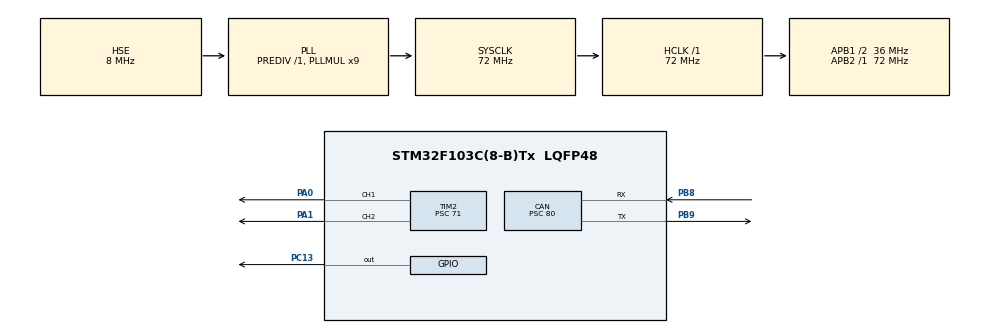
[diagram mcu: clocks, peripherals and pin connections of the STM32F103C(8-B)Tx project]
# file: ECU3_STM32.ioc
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CAN.ABOM=DISABLE
CAN.BS1=CAN_BS1_5TQ
CAN.BS2=CAN_BS2_3TQ
CAN.CalculateBaudRate=50000
CAN.CalculateTimeBit=20000
CAN.CalculateTimeQuantum=2222.222222222222
CAN.Mode=CAN_MODE_NORMAL
CAN.NART=ENABLE
CAN.Prescaler=80
FREERTOS.Tasks01=CANRxHandlerTask,24,128,CANRxHandler,Default,NULL,Dynamic,NULL,NULL;CANTxHandlerTask,24,128,CANTxHandler,Default,NULL,Dynamic,NULL,NULL
FREERTOS.configMAX_TASK_NAME_LEN=32
FREERTOS.configTOTAL_HEAP_SIZE=10000
FREERTOS.configUSE_MALLOC_FAILED_HOOK=1
Mcu.Family=STM32F1
Mcu.Name=STM32F103C(8-B)Tx
Mcu.Package=LQFP48
NVIC.PriorityGroup=NVIC_PRIORITYGROUP_4
NVIC.TIM2_IRQn=true\:5\:0\:false\:false\:true\:true\:true\:true\:true
NVIC.TIM4_IRQn=true\:15\:0\:false\:false\:true\:false\:false\:true\:true
NVIC.TimeBase=TIM4_IRQn
NVIC.TimeBaseIP=TIM4
NVIC.USB_LP_CAN1_RX0_IRQn=true\:5\:0\:false\:false\:true\:true\:true\:true\:true
PA0-WKUP.Signal=S_TIM2_CH1_ETR
PA1.Signal=S_TIM2_CH2
PA13.Mode=Serial_Wire
PA13.Signal=SYS_JTMS-SWDIO
PA14.Mode=Serial_Wire
PA14.Signal=SYS_JTCK-SWCLK
PB8.GPIO_PuPd=GPIO_PULLUP
PB8.Mode=CAN_Activate
PB8.Signal=CAN_RX
PB9.Mode=CAN_Activate
PB9.Signal=CAN_TX
PC13-TAMPER-RTC.Signal=GPIO_Output
PD0-OSC_IN.Mode=HSE-External-Oscillator
PD0-OSC_IN.Signal=RCC_OSC_IN
PD1-OSC_OUT.Mode=HSE-External-Oscillator
PD1-OSC_OUT.Signal=RCC_OSC_OUT
ProjectManager.HeapSize=0x200
ProjectManager.StackSize=0x400
ProjectManager.TargetToolchain=STM32CubeIDE
RCC.ADCPresc=RCC_ADCPCLK2_DIV6
RCC.AHBFreq_Value=72000000
RCC.APB1CLKDivider=RCC_HCLK_DIV2
RCC.APB1Freq_Value=36000000
RCC.APB1TimFreq_Value=72000000
RCC.APB2Freq_Value=72000000
RCC.APB2TimFreq_Value=72000000
RCC.HCLKFreq_Value=72000000
RCC.PLLMUL=RCC_PLL_MUL9
RCC.PLLSourceVirtual=RCC_PLLSOURCE_HSE
RCC.SYSCLKFreq_VALUE=72000000
RCC.SYSCLKSource=RCC_SYSCLKSOURCE_PLLCLK
RCC.USBFreq_Value=72000000
SH.S_TIM2_CH1_ETR.0=TIM2_CH1,PWM Generation1 CH1
SH.S_TIM2_CH2.0=TIM2_CH2,PWM Generation2 CH2
TIM1.Period=999
TIM1.Prescaler=799
TIM2.Channel-PWM\ Generation1\ CH1=TIM_CHANNEL_1
TIM2.Channel-PWM\ Generation2\ CH2=TIM_CHANNEL_2
TIM2.Period=19999
TIM2.Prescaler=71
TIM2.Pulse-PWM\ Generation1\ CH1=1500
TIM2.Pulse-PWM\ Generation2\ CH2=1500
TIM3.Period=999
TIM3.Prescaler=799
VP_FREERTOS_VS_CMSIS_V2.Mode=CMSIS_V2
VP_SYS_VS_tim4.Mode=TIM4
VP_TIM1_VS_ClockSourceINT.Mode=Internal
VP_TIM2_VS_ClockSourceINT.Mode=Internal
VP_TIM3_VS_ClockSourceINT.Mode=Internal
board=custom

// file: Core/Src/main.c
/* USER CODE BEGIN Header */
/**
  ******************************************************************************
  * @file           : main.c
  * @brief          : Main program body
  ******************************************************************************
  * @attention
  *
  * Copyright (c) 2026 STMicroelectronics.
  * All rights reserved.
  *
  * This software is licensed under terms that can be found in the LICENSE file
  * in the root directory of this software component.
  * If no LICENSE file comes with this software, it is provided AS-IS.
  *
  ******************************************************************************
  */
/* USER CODE END Header */
#include "main.h"
#include "cmsis_os.h"

/* USER CODE BEGIN Includes */
#include "can.h"
/* USER CODE END Includes */

/* USER CODE BEGIN PD */
#define SERVO_MIN   900    // -90°   = 1ms
#define SERVO_MID   1500   // 0°  = 1.5ms
#define SERVO_MAX   2100   // +90° = 2.0ms

/* USER CODE END PD */

CAN_HandleTypeDef hcan;

TIM_HandleTypeDef htim1;
TIM_HandleTypeDef htim2;
TIM_HandleTypeDef htim3;

/* Definitions for CANRxHandlerTask */
osThreadId_t CANRxHandlerTaskHandle;
const osThreadAttr_t CANRxHandlerTask_attributes = {
  .name = "CANRxHandlerTask",
  .stack_size = 128 * 4,
  .priority = (osPriority_t) osPriorityNormal,
};
/* Definitions for CANTxHandlerTask */
osThreadId_t CANTxHandlerTaskHandle;
const osThreadAttr_t CANTxHandlerTask_attributes = {
  .name = "CANTxHandlerTask",
  .stack_size = 128 * 4,
  .priority = (osPriority_t) osPriorityNormal,
};

void SystemClock_Config(void);
static void MX_GPIO_Init(void);
static void MX_CAN_Init(void);
static void MX_TIM1_Init(void);
static void MX_TIM3_Init(void);
static void MX_TIM2_Init(void);
void CANRxHandler(void *argument);
void CANTxHandler(void *argument);

/* USER CODE BEGIN PFP */
void Servo_OpenDoor(uint32_t channel);
void Servo_CloseDoor(uint32_t channel);
/* USER CODE END PFP */

/* USER CODE BEGIN 0 */
void Servo_SetAngle(TIM_HandleTypeDef *htim, uint32_t channel, float angle)
{
    uint32_t pulse = (uint32_t)(SERVO_MIN + (angle / 180.0f) * (SERVO_MAX - SERVO_MIN));
    __HAL_TIM_SET_COMPARE(htim, channel, pulse);
}

void Servo_OpenDoor(uint32_t channel)
{
    Servo_SetAngle(&htim2, channel, DOOR_ANGLE_OPEN);
}

void Servo_CloseDoor(uint32_t channel)
{
    Servo_SetAngle(&htim2, channel, DOOR_ANGLE_CLOSE);
}
/* USER CODE END 0 */

int main(void)
{

  /* MCU Configuration--------------------------------------------------------*/

  /* Reset of all peripherals, Initializes the Flash interface and the Systick. */
  HAL_Init();

  /* Configure the system clock */
  SystemClock_Config();

  /* Initialize all configured peripherals */
  MX_GPIO_Init();
  MX_CAN_Init();
  MX_TIM1_Init();
  MX_TIM3_Init();
  MX_TIM2_Init();
  /* USER CODE BEGIN 2 */
  HAL_TIM_PWM_Start(&htim2, TIM_CHANNEL_1);
  HAL_TIM_PWM_Start(&htim2, TIM_CHANNEL_2);

  /* USER CODE END 2 */

  /* Init scheduler */
  osKernelInitialize();

  /* Create the thread(s) */
  /* creation of CANRxHandlerTask */
  CANRxHandlerTaskHandle = osThreadNew(CANRxHandler, NULL, &CANRxHandlerTask_attributes);

  /* creation of CANTxHandlerTask */
  CANTxHandlerTaskHandle = osThreadNew(CANTxHandler, NULL, &CANTxHandlerTask_attributes);

  /* Start scheduler */
  osKernelStart();

  /* We should never get here as control is now taken by the scheduler */

  /* Infinite loop */
  while (1)
  {

  }
}

void SystemClock_Config(void)
{
  RCC_OscInitTypeDef RCC_OscInitStruct = {0};
  RCC_ClkInitTypeDef RCC_ClkInitStruct = {0};

  /** Initializes the RCC Oscillators according to the specified parameters
  * in the RCC_OscInitTypeDef structure.
  */
  RCC_OscInitStruct.OscillatorType = RCC_OSCILLATORTYPE_HSE;
  RCC_OscInitStruct.HSEState = RCC_HSE_ON;
  RCC_OscInitStruct.HSEPredivValue = RCC_HSE_PREDIV_DIV1;
  RCC_OscInitStruct.HSIState = RCC_HSI_ON;
  RCC_OscInitStruct.PLL.PLLState = RCC_PLL_ON;
  RCC_OscInitStruct.PLL.PLLSource = RCC_PLLSOURCE_HSE;
  RCC_OscInitStruct.PLL.PLLMUL = RCC_PLL_MUL9;
  if (HAL_RCC_OscConfig(&RCC_OscInitStruct) != HAL_OK)
  {
    Error_Handler();
  }

  /** Initializes the CPU, AHB and APB buses clocks
  */
  RCC_ClkInitStruct.ClockType = RCC_CLOCKTYPE_HCLK|RCC_CLOCKTYPE_SYSCLK
                              |RCC_CLOCKTYPE_PCLK1|RCC_CLOCKTYPE_PCLK2;
  RCC_ClkInitStruct.SYSCLKSource = RCC_SYSCLKSOURCE_PLLCLK;
  RCC_ClkInitStruct.AHBCLKDivider = RCC_SYSCLK_DIV1;
  RCC_ClkInitStruct.APB1CLKDivider = RCC_HCLK_DIV2;
  RCC_ClkInitStruct.APB2CLKDivider = RCC_HCLK_DIV1;

  if (HAL_RCC_ClockConfig(&RCC_ClkInitStruct, FLASH_LATENCY_2) != HAL_OK)
  {
    Error_Handler();
  }
}

static void MX_CAN_Init(void)
{

  hcan.Instance = CAN1;
  hcan.Init.Prescaler = 80;
  hcan.Init.Mode = CAN_MODE_NORMAL;
  hcan.Init.SyncJumpWidth = CAN_SJW_1TQ;
  hcan.Init.TimeSeg1 = CAN_BS1_5TQ;
  hcan.Init.TimeSeg2 = CAN_BS2_3TQ;
  hcan.Init.TimeTriggeredMode = DISABLE;
  hcan.Init.AutoBusOff = DISABLE;
  hcan.Init.AutoWakeUp = DISABLE;
  hcan.Init.AutoRetransmission = ENABLE;
  hcan.Init.ReceiveFifoLocked = DISABLE;
  hcan.Init.TransmitFifoPriority = DISABLE;
  if (HAL_CAN_Init(&hcan) != HAL_OK)
  {
    Error_Handler();
  }
  /* USER CODE BEGIN CAN_Init 2 */
    CAN_FilterTypeDef sFilterConfig = {0};
    sFilterConfig.FilterBank = 0;
    sFilterConfig.FilterMode = CAN_FILTERMODE_IDMASK;
    sFilterConfig.FilterScale = CAN_FILTERSCALE_32BIT;
    sFilterConfig.FilterIdHigh = 0x0000;
    sFilterConfig.FilterIdLow = 0x0000;
    sFilterConfig.FilterMaskIdHigh = 0x0000;
    sFilterConfig.FilterMaskIdLow = 0x0000;
    sFilterConfig.FilterFIFOAssignment = CAN_RX_FIFO0;
    sFilterConfig.FilterActivation = ENABLE;
    if (HAL_CAN_ConfigFilter(&hcan, &sFilterConfig) != HAL_OK) Error_Handler();
    if (HAL_CAN_Start(&hcan) != HAL_OK) Error_Handler();

  /* USER CODE END CAN_Init 2 */

}

static void MX_TIM1_Init(void)
{

  TIM_ClockConfigTypeDef sClockSourceConfig = {0};
  TIM_MasterConfigTypeDef sMasterConfig = {0};

  htim1.Instance = TIM1;
  htim1.Init.Prescaler = 799;
  htim1.Init.CounterMode = TIM_COUNTERMODE_UP;
  htim1.Init.Period = 999;
  htim1.Init.ClockDivision = TIM_CLOCKDIVISION_DIV1;
  htim1.Init.RepetitionCounter = 0;
  htim1.Init.AutoReloadPreload = TIM_AUTORELOAD_PRELOAD_DISABLE;
  if (HAL_TIM_Base_Init(&htim1) != HAL_OK)
  {
    Error_Handler();
  }
  sClockSourceConfig.ClockSource = TIM_CLOCKSOURCE_INTERNAL;
  if (HAL_TIM_ConfigClockSource(&htim1, &sClockSourceConfig) != HAL_OK)
  {
    Error_Handler();
  }
  sMasterConfig.MasterOutputTrigger = TIM_TRGO_RESET;
  sMasterConfig.MasterSlaveMode = TIM_MASTERSLAVEMODE_DISABLE;
  if (HAL_TIMEx_MasterConfigSynchronization(&htim1, &sMasterConfig) != HAL_OK)
  {
    Error_Handler();
  }

}

static void MX_TIM2_Init(void)
{

  TIM_ClockConfigTypeDef sClockSourceConfig = {0};
  TIM_MasterConfigTypeDef sMasterConfig = {0};
  TIM_OC_InitTypeDef sConfigOC = {0};

  htim2.Instance = TIM2;
  htim2.Init.Prescaler = 71;
  htim2.Init.CounterMode = TIM_COUNTERMODE_UP;
  htim2.Init.Period = 19999;
  htim2.Init.ClockDivision = TIM_CLOCKDIVISION_DIV1;
  htim2.Init.AutoReloadPreload = TIM_AUTORELOAD_PRELOAD_DISABLE;
  if (HAL_TIM_Base_Init(&htim2) != HAL_OK)
  {
    Error_Handler();
  }
  sClockSourceConfig.ClockSource = TIM_CLOCKSOURCE_INTERNAL;
  if (HAL_TIM_ConfigClockSource(&htim2, &sClockSourceConfig) != HAL_OK)
  {
    Error_Handler();
  }
  if (HAL_TIM_PWM_Init(&htim2) != HAL_OK)
  {
    Error_Handler();
  }
  sMasterConfig.MasterOutputTrigger = TIM_TRGO_RESET;
  sMasterConfig.MasterSlaveMode = TIM_MASTERSLAVEMODE_DISABLE;
  if (HAL_TIMEx_MasterConfigSynchronization(&htim2, &sMasterConfig) != HAL_OK)
  {
    Error_Handler();
  }
  sConfigOC.OCMode = TIM_OCMODE_PWM1;
  sConfigOC.Pulse = 1500;
  sConfigOC.OCPolarity = TIM_OCPOLARITY_HIGH;
  sConfigOC.OCFastMode = TIM_OCFAST_DISABLE;
  if (HAL_TIM_PWM_ConfigChannel(&htim2, &sConfigOC, TIM_CHANNEL_1) != HAL_OK)
  {
    Error_Handler();
  }
  if (HAL_TIM_PWM_ConfigChannel(&htim2, &sConfigOC, TIM_CHANNEL_2) != HAL_OK)
  {
    Error_Handler();
  }
  HAL_TIM_MspPostInit(&htim2);

}

static void MX_TIM3_Init(void)
{

  TIM_ClockConfigTypeDef sClockSourceConfig = {0};
  TIM_MasterConfigTypeDef sMasterConfig = {0};

  htim3.Instance = TIM3;
  htim3.Init.Prescaler = 799;
  htim3.Init.CounterMode = TIM_COUNTERMODE_UP;
  htim3.Init.Period = 999;
  htim3.Init.ClockDivision = TIM_CLOCKDIVISION_DIV1;
  htim3.Init.AutoReloadPreload = TIM_AUTORELOAD_PRELOAD_DISABLE;
  if (HAL_TIM_Base_Init(&htim3) != HAL_OK)
  {
    Error_Handler();
  }
  sClockSourceConfig.ClockSource = TIM_CLOCKSOURCE_INTERNAL;
  if (HAL_TIM_ConfigClockSource(&htim3, &sClockSourceConfig) != HAL_OK)
  {
    Error_Handler();
  }
  sMasterConfig.MasterOutputTrigger = TIM_TRGO_RESET;
  sMasterConfig.MasterSlaveMode = TIM_MASTERSLAVEMODE_DISABLE;
  if (HAL_TIMEx_MasterConfigSynchronization(&htim3, &sMasterConfig) != HAL_OK)
  {
    Error_Handler();
  }

}

static void MX_GPIO_Init(void)
{
  GPIO_InitTypeDef GPIO_InitStruct = {0};

  /* GPIO Ports Clock Enable */
  __HAL_RCC_GPIOC_CLK_ENABLE();
  __HAL_RCC_GPIOD_CLK_ENABLE();
  __HAL_RCC_GPIOA_CLK_ENABLE();
  __HAL_RCC_GPIOB_CLK_ENABLE();

  /*Configure GPIO pin Output Level */
  HAL_GPIO_WritePin(GPIOC, GPIO_PIN_13, GPIO_PIN_RESET);

  /*Configure GPIO pin : PC13 */
  GPIO_InitStruct.Pin = GPIO_PIN_13;
  GPIO_InitStruct.Mode = GPIO_MODE_OUTPUT_PP;
  GPIO_InitStruct.Pull = GPIO_NOPULL;
  GPIO_InitStruct.Speed = GPIO_SPEED_FREQ_LOW;
  HAL_GPIO_Init(GPIOC, &GPIO_InitStruct);

}

void CANRxHandler(void *argument)
{
  /* USER CODE BEGIN 5 */
	  CAN_RxHeaderTypeDef rxHeader;
	  uint8_t rxData[8];

	  /* Tính sẵn ID và byte position cho cửa trái/phải */
	  const uint32_t leftDoorExtId  = DIGITAL_OUTPUT_CMD_ID(LEFT_DOOR_OUTPUT_INDEX / 8U)  & 0x1FFFFFFFUL;
	  const uint8_t  leftDoorByte   = LEFT_DOOR_OUTPUT_INDEX % 8U;    /* = 0 */
	  const uint32_t rightDoorExtId = DIGITAL_OUTPUT_CMD_ID(RIGHT_DOOR_OUTPUT_INDEX / 8U) & 0x1FFFFFFFUL;
	  const uint8_t  rightDoorByte  = RIGHT_DOOR_OUTPUT_INDEX % 8U;   /* = 1 */

	  uint8_t lastLeftCmd  = 0xFF;
	  uint8_t lastRightCmd = 0xFF;
  /* Infinite loop */
  for(;;)
  {
	  while (HAL_CAN_GetRxFifoFillLevel(&hcan, CAN_RX_FIFO0) > 0U)
	      {
	        if (HAL_CAN_GetRxMessage(&hcan, CAN_RX_FIFO0, &rxHeader, rxData) == HAL_OK)
	        {
	          if (rxHeader.IDE == CAN_ID_EXT)
	          {
	            /* --- Cửa trái (TIM2 CH1) --- */
	            if (rxHeader.ExtId == leftDoorExtId)
	            {
	              uint8_t sw = rxData[leftDoorByte] & 0x01U;
	              if (sw != lastLeftCmd)
	              {
	                lastLeftCmd = sw;
	                if (sw) Servo_OpenDoor(TIM_CHANNEL_1);
	                else    Servo_CloseDoor(TIM_CHANNEL_1);
	              }
	            }

	            /* --- Cửa phải (TIM2 CH2) --- */
	            if (rxHeader.ExtId == rightDoorExtId)
	            {
	              uint8_t sw = rxData[rightDoorByte] & 0x01U;
	              if (sw != lastRightCmd)
	              {
	                lastRightCmd = sw;
	                if (sw) Servo_CloseDoor(TIM_CHANNEL_2);
	                else    Servo_OpenDoor(TIM_CHANNEL_2);
	              }
	            }
	          }
	        }
	      }
	      osDelay(5);
  }
  /* USER CODE END 5 */
}

void CANTxHandler(void *argument)
{
  /* USER CODE BEGIN CANTxHandler */
	Servo_CloseDoor(TIM_CHANNEL_1);
	Servo_CloseDoor(TIM_CHANNEL_2);
  /* Infinite loop */
  for(;;)
  {
	  osDelay(1000);
  }
  /* USER CODE END CANTxHandler */
}

void HAL_TIM_PeriodElapsedCallback(TIM_HandleTypeDef *htim)
{
  if (htim->Instance == TIM4) {
    HAL_IncTick();
  }
}

void Error_Handler(void)
{
  __disable_irq();
  while (1)
  {
  }
}
